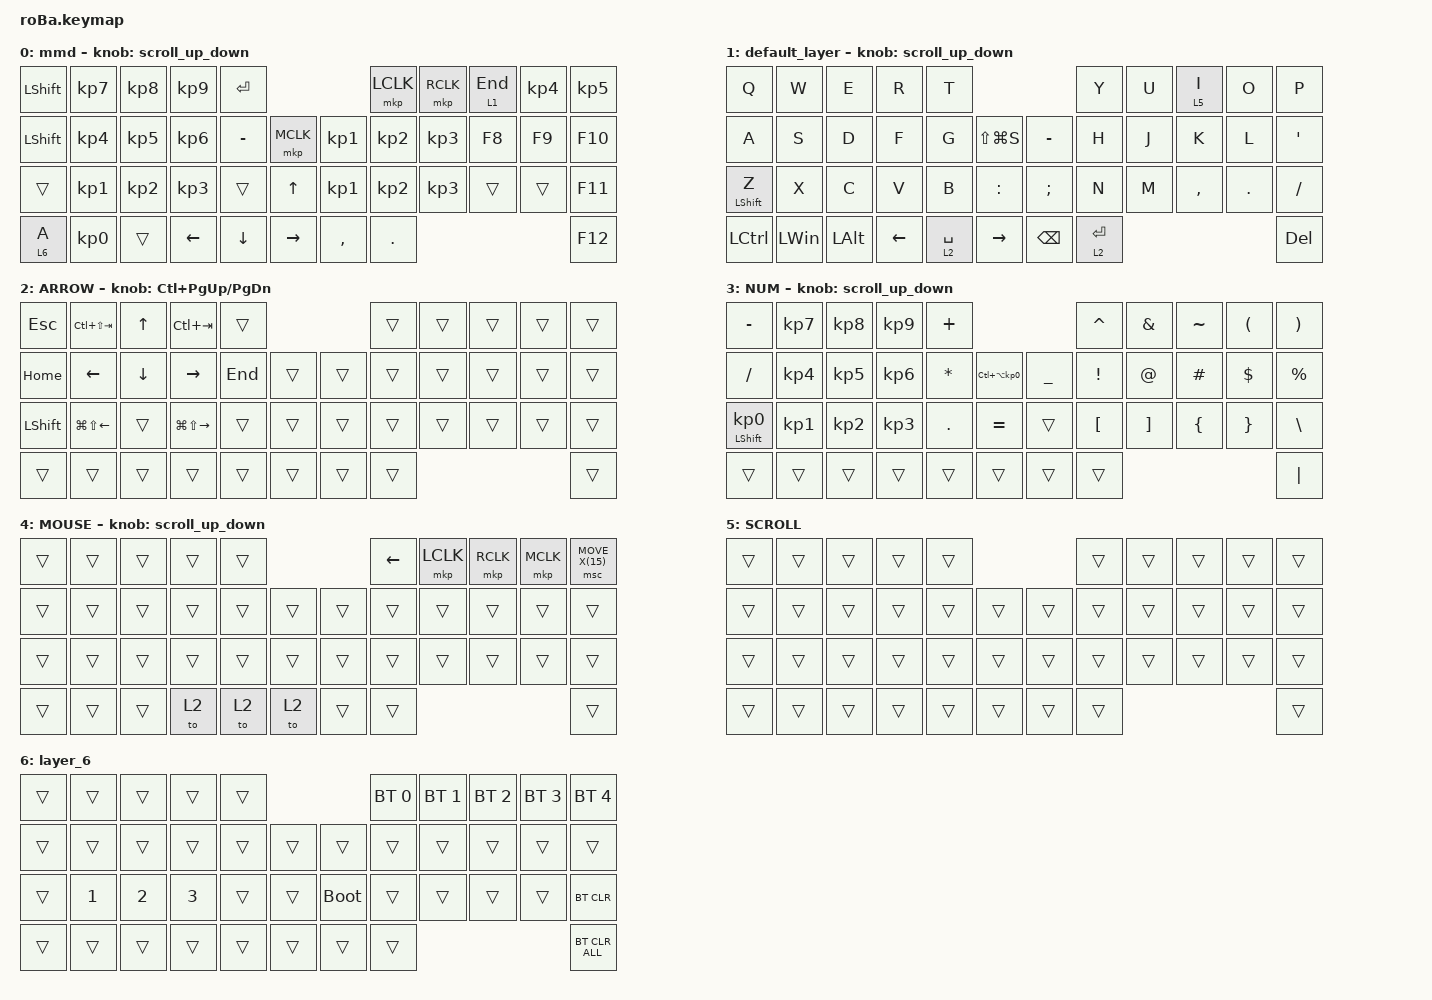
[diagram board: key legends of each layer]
#include <behaviors.dtsi>
#include <dt-bindings/zmk/bt.h>
#include <dt-bindings/zmk/keys.h>
#include <dt-bindings/zmk/pointing.h>
#include <dt-bindings/zmk/pointing.h>

#define ZMK_POINTTiNG_DEFAULT_SCRL_VAL 100
#define MOUSE 4
#define SCROLL 5
#define NUM 6

&mt {
    flavor = "balanced";
    quick-tap-ms = <0>;
};

/ {
    combos {
        compatible = "zmk,combos";

        tab {
            bindings = <&kp TAB>;
            key-positions = <11 12>;
        };

        shift_tab {
            bindings = <&kp LS(TAB)>;
            key-positions = <12 13>;
        };

        double_quotation {
            bindings = <&kp DOUBLE_QUOTES>;
            key-positions = <20 21>;
        };

        eq {
            bindings = <&kp EQUAL>;
            key-positions = <24 25>;
        };

        backspace {
            bindings = <&kp BACKSPACE>;
            key-positions = <27 39>;
        };

        numpad- {
            bindings = <&kp MINUS>;
            key-positions = <3 4>;
        };

        piriod {
            bindings = <&lt 2 DOT>;
            key-positions = <5 6>;
        };

        enter {
            bindings = <&kp ENTER>;
            key-positions = <0 39>;
        };

        rayer1 {
            bindings = <&tog 1>;
            key-positions = <0 1>;
        };

        muhenkan {
            bindings = <&kp INT_MUHENKAN>;
            key-positions = <26 27>;
        };

        arrow {
            bindings = <&tog 2>;
            key-positions = <22 23>;
        };

        home {
            bindings = <&kp HOME>;
            key-positions = <4 5>;
        };

        rayer2 {
            bindings = <&tog 3>;
            key-positions = <10 11>;
        };

        mmd {
            bindings = <&tog 0>;
            key-positions = <2 3>;
        };

    macros {
        to_layer_0: to_layer_0 {
            compatible = "zmk,behavior-macro-one-param";
            #binding-cells = <1>;
            bindings = <&to 2 &macro_param_1to1 &kp MACRO_PLACEHOLDER>;
            label = "TO_LAYER_0";
        };
 };
    behaviors {
        scroll_up_down: behavior_sensor_rotate_mouse_wheel_up_down {
            compatible = "zmk,behavior-sensor-rotate";
            #sensor-binding-cells = <0>;
            bindings = <&msc SCRL_DOWN>, <&msc SCRL_UP>;

            (20ms)

            tap-ms = <20>;
        };
    
 };
    keymap {
        compatible = "zmk,keymap";

        mmd {
            bindings = <
&kp LEFT_SHIFT  &kp KP_NUMBER_7  &kp KP_N8        &kp KP_NUMBER_9  &kp ENTER                                             &mkp LCLK        &mkp RCLK        &lt 1 END  &kp KP_NUMBER_4  &kp KP_NUMBER_5
&kp LEFT_SHIFT  &kp KP_NUMBER_4  &kp KP_NUMBER_5  &kp KP_NUMBER_6  &kp MINUS       &mkp MCLK            &kp KP_NUMBER_1  &kp KP_NUMBER_2  &kp KP_NUMBER_3  &kp F8     &kp F9           &kp F10
&trans          &kp KP_NUMBER_1  &kp KP_NUMBER_2  &kp KP_NUMBER_3  &trans          &kp UP_ARROW         &kp KP_NUMBER_1  &kp KP_NUMBER_2  &kp KP_NUMBER_3  &trans     &trans           &kp F11
&lt 6 A         &kp KP_NUMBER_0  &trans           &kp LEFT_ARROW   &kp DOWN_ARROW  &kp RIGHT_ARROW      &kp COMMA        &kp PERIOD                                                    &kp F12
            >;

            sensor-bindings = <&scroll_up_down>;
        };

        default_layer {
            bindings = <
&kp Q             &kp W         &kp E         &kp R           &kp T                                            &kp Y        &kp U  &lt 5 I    &kp O    &kp P
&kp A             &kp S         &kp D         &kp F           &kp G        &kp LS(LG(S))        &kp MINUS      &kp H        &kp J  &kp K      &kp L    &kp SQT
&mt LEFT_SHIFT Z  &kp X         &kp C         &kp V           &kp B        &kp COLON            &kp SEMICOLON  &kp N        &kp M  &kp COMMA  &kp DOT  &kp SLASH
&kp LCTRL         &kp LEFT_WIN  &kp LEFT_ALT  &kp LEFT_ARROW  &lt 2 SPACE  &kp RIGHT_ARROW      &kp BACKSPACE  &lt 2 ENTER                             &kp DEL
            >;

            sensor-bindings = <&scroll_up_down>;
        };

        ARROW {
            bindings = <
&kp ESCAPE      &kp LC(LS(TAB))         &kp UP_ARROW    &kp LC(TAB)              &trans                       &trans  &trans  &trans  &trans  &trans
&kp HOME        &kp LEFT_ARROW          &kp DOWN_ARROW  &kp RIGHT_ARROW          &kp END  &trans      &trans  &trans  &trans  &trans  &trans  &trans
&kp LEFT_SHIFT  &kp LG(LS(LEFT_ARROW))  &trans          &kp LG(LS(RIGHT_ARROW))  &trans   &trans      &trans  &trans  &trans  &trans  &trans  &trans
&trans          &trans                  &trans          &trans                   &trans   &trans      &trans  &trans                          &trans
            >;

            sensor-bindings = <&inc_dec_kp LC(PAGE_UP) PAGE_DOWN>;
        };

        NUM {
            bindings = <
&kp MINUS                   &kp KP_NUMBER_7  &kp KP_NUMBER_8  &kp KP_NUMBER_9  &kp PLUS                                                   &kp CARET         &kp AMPERSAND      &kp TILDE       &kp LEFT_PARENTHESIS  &kp RIGHT_PARENTHESIS
&kp SLASH                   &kp KP_NUMBER_4  &kp KP_NUMBER_5  &kp KP_NUMBER_6  &kp ASTERISK  &kp LC(LA(KP_NUMBER_0))      &kp UNDERSCORE  &kp EXCLAMATION   &kp AT_SIGN        &kp HASH        &kp DOLLAR            &kp PERCENT
&mt LEFT_SHIFT KP_NUMBER_0  &kp KP_NUMBER_1  &kp KP_NUMBER_2  &kp KP_NUMBER_3  &kp PERIOD    &kp EQUAL                    &trans          &kp LEFT_BRACKET  &kp RIGHT_BRACKET  &kp LEFT_BRACE  &kp RIGHT_BRACE       &kp BACKSLASH
&trans                      &trans           &trans           &trans           &trans        &trans                       &trans          &trans                                                                     &kp PIPE
            >;

            sensor-bindings = <&scroll_up_down>;
        };

        MOUSE {
            bindings = <
&trans  &trans  &trans  &trans  &trans                      &kp LEFT_ARROW  &mkp LCLK  &mkp RCLK  &mkp MCLK  &msc MOVE_X(15)
&trans  &trans  &trans  &trans  &trans  &trans      &trans  &trans          &trans     &trans     &trans     &trans
&trans  &trans  &trans  &trans  &trans  &trans      &trans  &trans          &trans     &trans     &trans     &trans
&trans  &trans  &trans  &to 2   &to 2   &to 2       &trans  &trans                                           &trans
            >;

            sensor-bindings = <&scroll_up_down>;
        };

        SCROLL {
            bindings = <
&trans  &trans  &trans  &trans  &trans                      &trans  &trans  &trans  &trans  &trans
&trans  &trans  &trans  &trans  &trans  &trans      &trans  &trans  &trans  &trans  &trans  &trans
&trans  &trans  &trans  &trans  &trans  &trans      &trans  &trans  &trans  &trans  &trans  &trans
&trans  &trans  &trans  &trans  &trans  &trans      &trans  &trans                          &trans
            >;
        };

        layer_6 {
            bindings = <
&trans  &trans        &trans        &trans        &trans                           &bt BT_SEL 0  &bt BT_SEL 1  &bt BT_SEL 2  &bt BT_SEL 3  &bt BT_SEL 4
&trans  &trans        &trans        &trans        &trans  &trans      &trans       &trans        &trans        &trans        &trans        &trans
&trans  &kp NUMBER_1  &kp NUMBER_2  &kp NUMBER_3  &trans  &trans      &bootloader  &trans        &trans        &trans        &trans        &bt BT_CLR
&trans  &trans        &trans        &trans        &trans  &trans      &trans       &trans                                                  &bt BT_CLR_ALL
            >;
        };
    };
};
